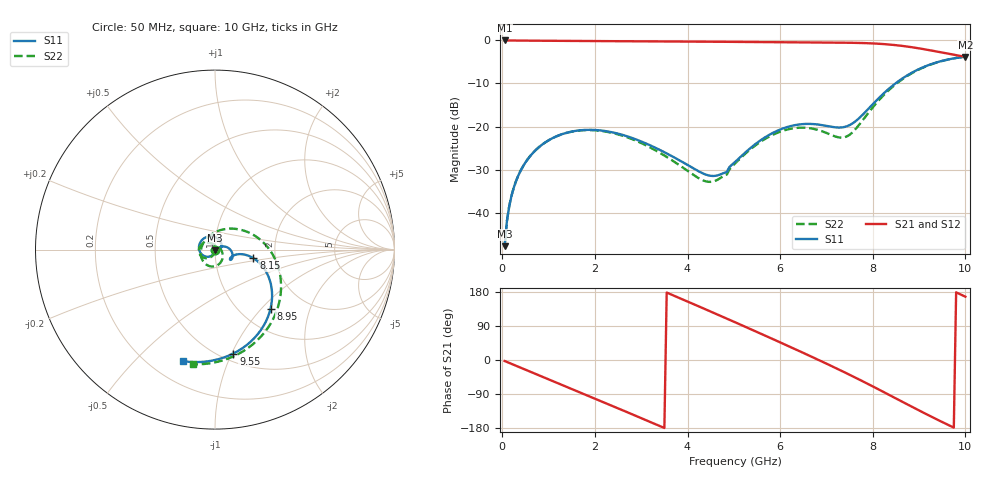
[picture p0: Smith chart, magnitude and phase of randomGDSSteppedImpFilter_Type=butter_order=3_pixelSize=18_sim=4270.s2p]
! freq	dB(S11)	phase(S11)	dB(S12)	phase(S12)
!  dB(S21)	phase(S21)	dB(S22)	phase(S22)
!S-par simulation data
#  GHz  S  DB  R 50
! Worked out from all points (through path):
!   200 points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, 50 MHz to 10 GHz, reference 50 ohm
!   highest |S21| = -0.01 dB at 50 MHz (marker M1); lowest = -3.8 dB at 10 GHz (marker M2)
!   group delay of S21, straight-line fit = 153 ps
!   lowest |S11| = -47.8 dB at 50 MHz (marker M3), VSWR 1.01, Z = 50 - j0.407 ohm
!   |S11| at or under -10 dB: start of sweep to 8.488 GHz
!   |S22| runs from -47.8 to -3.7 dB; largest |S21 - S12| = 0
!   S11 on the Smith chart (normalised r, x): 50 MHz: 1.00, -0.01; 8.15 GHz: 1.53, -0.15; 8.95 GHz: 1.36, -1.12; 9.55 GHz: 0.57, -1.01; 10 GHz: 0.33, -0.70
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0.05  -47.79 -88.0  -0.01 -2.6  -0.01 -2.6  -47.78 -87.4
0.1  -41.97 -93.2  -0.01 -5.2  -0.01 -5.2  -41.95 -92.0
0.2  -36.04 -100.4  -0.02 -10.3  -0.02 -10.3  -36.02 -98.1
0.5  -28.34 -118.8  -0.04 -25.6  -0.04 -25.6  -28.33 -113.0
1.15  -22.36 -157.0  -0.09 -58.7  -0.09 -58.7  -22.37 -142.7
1.75  -20.81 167.2  -0.14 -89.2  -0.14 -89.2  -20.86 -168.6
2.5  -21.66 119.2  -0.18 -127.6  -0.18 -127.6  -21.83 161.8
2.95  -23.25 87.9  -0.20 -150.8  -0.20 -150.8  -23.59 146.0
3.4  -25.42 55.3  -0.23 -174.2  -0.23 -174.2  -26.09 131.1
3.9  -28.31 22.7  -0.26 159.6  -0.26 159.6  -29.55 110.3
4.45  -31.35 10.6  -0.30 130.5  -0.30 130.5  -32.85 59.3
4.85  -30.55 24.3  -0.33 109.0  -0.33 109.0  -31.14 7.7
5.05  -27.99 23.9  -0.34 98.4  -0.34 98.4  -28.34 -12.8
5.8  -21.72 2.0  -0.40 57.5  -0.40 57.5  -22.13 -66.3
6.25  -19.84 -16.0  -0.45 32.7  -0.45 32.7  -20.48 -95.6
6.7  -19.42 -30.3  -0.48 7.5  -0.48 7.5  -20.49 -129.7
7.45  -19.91 -22.3  -0.53 -36.0  -0.53 -36.0  -22.24 126.8
8.15  -13.19 -12.6  -0.78 -79.1  -0.78 -79.1  -13.68 28.2
8.35  -11.21 -18.7  -0.94 -91.8  -0.94 -91.8  -11.51 10.3
8.95  -6.90 -46.8  -1.75 -130.0  -1.75 -130.0  -7.00 -35.3
9.55  -4.61 -80.0  -2.92 -166.7  -2.92 -166.7  -4.62 -74.4
10  -3.78 -106.1  -3.81 167.0  -3.81 167.0  -3.73 -100.9
